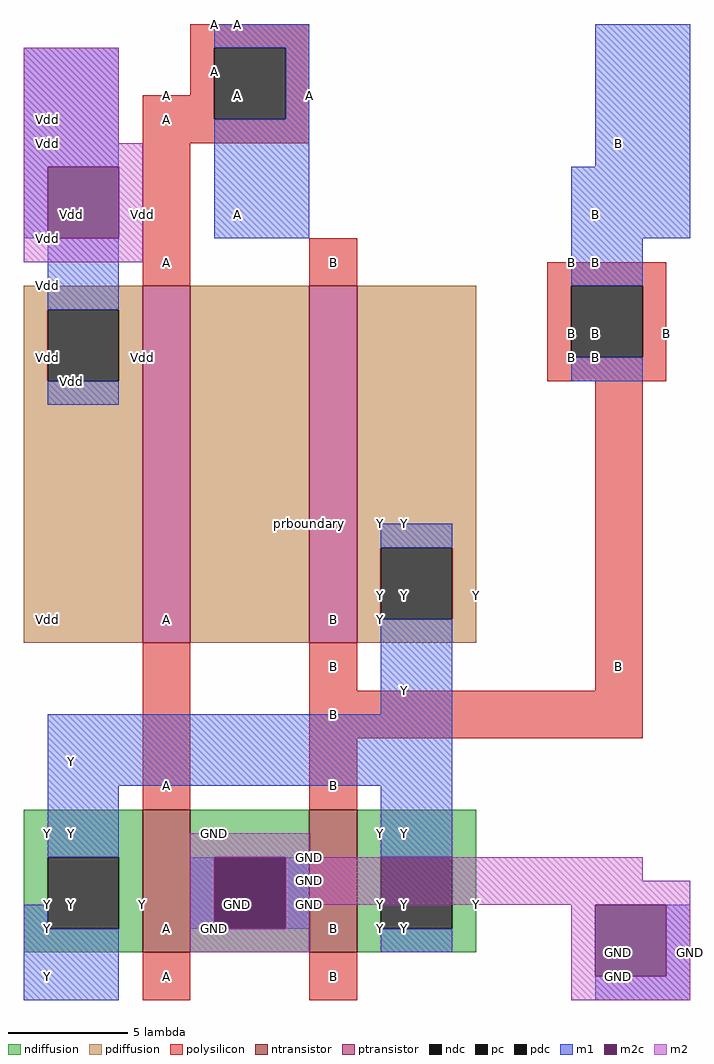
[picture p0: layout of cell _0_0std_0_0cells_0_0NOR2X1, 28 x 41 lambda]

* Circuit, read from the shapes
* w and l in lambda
.subckt _0_0std_0_0cells_0_0NOR2X1 B Y A
M1 GND A Y VSUBS nfet w=6 l=2
M2 Y B GND VSUBS nfet w=6 l=2
M3 n1 A Vdd NWELL pfet w=15 l=2
M4 Y B n1 NWELL pfet w=15 l=2
.ends

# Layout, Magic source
magic
tech sky130l
<< ndiffusion >>
rect 8 10 13 12
rect 8 7 9 10
rect 12 7 13 10
rect 8 6 13 7
rect 15 10 20 12
rect 15 7 16 10
rect 19 7 20 10
rect 15 6 20 7
rect 22 10 27 12
rect 22 7 23 10
rect 26 7 27 10
rect 22 6 27 7
<< ndc >>
rect 9 7 12 10
rect 16 7 19 10
rect 23 7 26 10
<< ntransistor >>
rect 13 6 15 12
rect 20 6 22 12
<< pdiffusion >>
rect 8 33 13 34
rect 8 30 9 33
rect 12 30 13 33
rect 8 19 13 30
rect 15 19 20 34
rect 22 23 27 34
rect 22 20 23 23
rect 26 20 27 23
rect 22 19 27 20
<< pdc >>
rect 9 30 12 33
rect 23 20 26 23
<< ptransistor >>
rect 13 19 15 34
rect 20 19 22 34
<< polysilicon >>
rect 15 44 20 45
rect 15 42 16 44
rect 13 41 16 42
rect 19 41 20 44
rect 13 40 20 41
rect 13 34 15 40
rect 20 34 22 36
rect 30 34 35 35
rect 30 31 31 34
rect 34 31 35 34
rect 30 30 35 31
rect 13 12 15 19
rect 20 17 22 19
rect 32 17 34 30
rect 20 15 34 17
rect 20 12 22 15
rect 13 4 15 6
rect 20 4 22 6
<< pc >>
rect 16 41 19 44
rect 31 31 34 34
<< m1 >>
rect 16 44 20 45
rect 8 39 12 44
rect 8 36 9 39
rect 19 41 20 44
rect 16 36 20 41
rect 32 39 36 45
rect 31 36 36 39
rect 9 33 12 36
rect 31 34 34 36
rect 31 30 34 31
rect 9 29 12 30
rect 23 23 26 24
rect 23 16 26 20
rect 9 13 26 16
rect 9 10 12 13
rect 23 10 26 13
rect 8 7 9 8
rect 15 7 16 10
rect 19 7 20 10
rect 8 4 12 7
rect 23 6 26 7
rect 35 5 36 8
rect 32 4 36 5
<< m2c >>
rect 9 36 12 39
rect 16 7 19 10
rect 32 5 35 8
<< m2 >>
rect 8 40 12 44
rect 8 39 13 40
rect 8 36 9 39
rect 12 36 13 39
rect 8 35 13 36
rect 15 10 20 11
rect 15 7 16 10
rect 19 9 34 10
rect 19 8 36 9
rect 19 7 20 8
rect 15 6 20 7
rect 31 5 32 8
rect 35 5 36 8
rect 31 4 36 5
<< labels >>
rlabel space 0 0 40 48 6 prboundary
rlabel polysilicon 35 32 35 32 3 B
rlabel polysilicon 33 18 33 18 3 B
rlabel ndiffusion 27 8 27 8 3 Y
rlabel polysilicon 31 31 31 31 3 B
rlabel polysilicon 31 32 31 32 3 B
rlabel polysilicon 31 35 31 35 3 B
rlabel pdiffusion 27 21 27 21 3 Y
rlabel ndiffusion 23 7 23 7 3 Y
rlabel ndiffusion 23 8 23 8 3 Y
rlabel ndiffusion 23 11 23 11 3 Y
rlabel pdiffusion 23 20 23 20 3 Y
rlabel pdiffusion 23 21 23 21 3 Y
rlabel pdiffusion 23 24 23 24 3 Y
rlabel polysilicon 21 5 21 5 3 B
rlabel ntransistor 21 7 21 7 3 B
rlabel polysilicon 21 13 21 13 3 B
rlabel polysilicon 21 16 21 16 3 B
rlabel polysilicon 21 18 21 18 3 B
rlabel ptransistor 21 20 21 20 3 B
rlabel polysilicon 21 35 21 35 3 B
rlabel ndiffusion 13 8 13 8 3 Y
rlabel pdiffusion 13 31 13 31 3 Vdd
rlabel polysilicon 16 43 16 43 3 A
rlabel polysilicon 16 45 16 45 3 A
rlabel polysilicon 14 5 14 5 3 A
rlabel ntransistor 14 7 14 7 3 A
rlabel polysilicon 14 13 14 13 3 A
rlabel ptransistor 14 20 14 20 3 A
rlabel polysilicon 14 35 14 35 3 A
rlabel polysilicon 14 41 14 41 3 A
rlabel polysilicon 14 42 14 42 3 A
rlabel ndiffusion 9 7 9 7 3 Y
rlabel ndiffusion 9 11 9 11 3 Y
rlabel pdiffusion 9 20 9 20 3 Vdd
rlabel pdiffusion 9 31 9 31 3 Vdd
rlabel pdiffusion 9 34 9 34 3 Vdd
rlabel m1 33 40 33 40 3 B
port 1 e
rlabel m1 32 31 32 31 3 B
port 1 e
rlabel pc 32 32 32 32 3 B
port 1 e
rlabel m1 32 35 32 35 3 B
port 1 e
rlabel m1 32 37 32 37 3 B
port 1 e
rlabel ndc 24 8 24 8 3 Y
port 2 e
rlabel m1 24 11 24 11 3 Y
port 2 e
rlabel m1 24 17 24 17 3 Y
port 2 e
rlabel pdc 24 21 24 21 3 Y
port 2 e
rlabel m1 24 24 24 24 3 Y
port 2 e
rlabel m1 20 42 20 42 3 A
port 3 e
rlabel m1 33 5 33 5 3 GND
rlabel m1 17 37 17 37 3 A
port 3 e
rlabel pc 17 42 17 42 3 A
port 3 e
rlabel m1 17 45 17 45 3 A
port 3 e
rlabel m1 24 7 24 7 3 Y
port 2 e
rlabel ndc 10 8 10 8 3 Y
port 2 e
rlabel m1 10 11 10 11 3 Y
port 2 e
rlabel m1 10 14 10 14 3 Y
port 2 e
rlabel m1 10 30 10 30 3 Vdd
rlabel pdc 10 31 10 31 3 Vdd
rlabel m1 10 34 10 34 3 Vdd
rlabel m1 9 5 9 5 3 Y
port 2 e
rlabel m1 9 8 9 8 3 Y
port 2 e
rlabel m2 36 6 36 6 3 GND
rlabel m2c 33 6 33 6 3 GND
rlabel m2 32 5 32 5 3 GND
rlabel m2 32 6 32 6 3 GND
rlabel m2 20 8 20 8 3 GND
rlabel m2 20 9 20 9 3 GND
rlabel m2 20 10 20 10 3 GND
rlabel m2c 17 8 17 8 3 GND
rlabel m2 16 7 16 7 3 GND
rlabel m2 16 8 16 8 3 GND
rlabel m2 16 11 16 11 3 GND
rlabel m2 13 37 13 37 3 Vdd
rlabel m2c 10 37 10 37 3 Vdd
rlabel m2 9 36 9 36 3 Vdd
rlabel m2 9 37 9 37 3 Vdd
rlabel m2 9 40 9 40 3 Vdd
rlabel m2 9 41 9 41 3 Vdd
<< end >>
